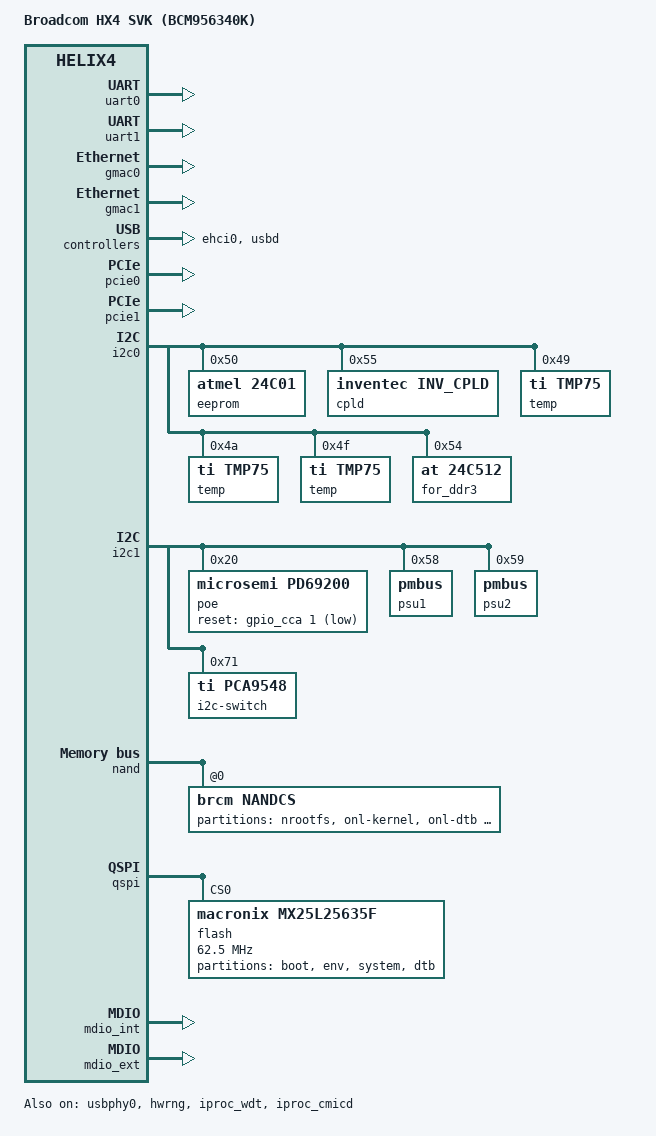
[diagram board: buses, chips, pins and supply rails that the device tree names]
/*
 *  BSD LICENSE
 *
 *  Copyright(c) 2016 Broadcom Corporation.  All rights reserved.
 *
 *  Redistribution and use in source and binary forms, with or without
 *  modification, are permitted provided that the following conditions
 *  are met:
 *
 *    * Redistributions of source code must retain the above copyright
 *      notice, this list of conditions and the following disclaimer.
 *    * Redistributions in binary form must reproduce the above copyright
 *      notice, this list of conditions and the following disclaimer in
 *      the documentation and/or other materials provided with the
 *      distribution.
 *    * Neither the name of Broadcom Corporation nor the names of its
 *      contributors may be used to endorse or promote products derived
 *      from this software without specific prior written permission.
 *
 *  THIS SOFTWARE IS PROVIDED BY THE COPYRIGHT HOLDERS AND CONTRIBUTORS
 *  "AS IS" AND ANY EXPRESS OR IMPLIED WARRANTIES, INCLUDING, BUT NOT
 *  LIMITED TO, THE IMPLIED WARRANTIES OF MERCHANTABILITY AND FITNESS FOR
 *  A PARTICULAR PURPOSE ARE DISCLAIMED. IN NO EVENT SHALL THE COPYRIGHT
 *  OWNER OR CONTRIBUTORS BE LIABLE FOR ANY DIRECT, INDIRECT, INCIDENTAL,
 *  SPECIAL, EXEMPLARY, OR CONSEQUENTIAL DAMAGES (INCLUDING, BUT NOT
 *  LIMITED TO, PROCUREMENT OF SUBSTITUTE GOODS OR SERVICES; LOSS OF USE,
 *  DATA, OR PROFITS; OR BUSINESS INTERRUPTION) HOWEVER CAUSED AND ON ANY
 *  THEORY OF LIABILITY, WHETHER IN CONTRACT, STRICT LIABILITY, OR TORT
 *  (INCLUDING NEGLIGENCE OR OTHERWISE) ARISING IN ANY WAY OUT OF THE USE
 *  OF THIS SOFTWARE, EVEN IF ADVISED OF THE POSSIBILITY OF SUCH DAMAGE.
 */

/dts-v1/;

#include "dts/bcm-helix4.dtsi"

/ {
	model = "Broadcom HX4 SVK (BCM956340K)";
	compatible = "brcm,bcm956340k", "brcm,helix4";

	aliases {
		serial0 = &uart0;
		serial1 = &uart1;
		ethernet0 = &gmac0;
		ethernet1 = &gmac1;
		i2c-controller0 = &i2c0;
		i2c-controller1 = &i2c1;
	};
	
	chosen {
		bootargs = "console=ttyS0,115200n8 maxcpus=2 mem=496M";
	};
};
	
&uart0 {
	status = "okay";
};

&uart1 {
	status = "okay";
};

&gmac0 {
	status = "okay";	
};

&gmac1 {
	status = "okay";	
};
	
&usbphy0 {
	dr_mode = "host";
	/delete-property/ vbus-gpio;
	/delete-property/ usbdev-gpio;
	status = "okay";		
};

&ehci0 {
	status = "okay";		
};

&usbd {
	status = "okay";		
};

&gpio_cca {
	status = "okay";		
};

&pcie0 {
	status = "okay";		
};

&pcie1 {
	status = "okay";		
};

&i2c0 {
	status = "okay";	
	eeprom@0x50 {
		compatible = "atmel,24c01";
		reg = <0x50>;
		pagesize = <8>;
	};
	cpld@1,0 {
		#address-cells = <1>;
		#size-cells = <1>;
		compatible = "inventec,inv_cpld";
		label = "cpld";
		reg = <0x55>;
	};

	temp@49 {
		compatible = "ti,tmp75";
		reg = <0x49>;
	};

	temp@4a {
		compatible = "ti,tmp75";
		reg = <0x4A>;
	};

	temp@4f {
		compatible = "ti,tmp75";
		reg = <0x4f>;
	};

	for_ddr3@54 {
		compatible = "at,24c512";
		reg = <0x54>;
		label = "for_ddr3";
	};
};

&i2c1 {
	status = "okay";
	
	poe@20 {
		compatible = "microsemi,pd69200";
		reset-gpio = <&gpio_cca 1 GPIO_ACTIVE_LOW>;
		reg = <0x20>;
		label = "poe";
	};
	
	psu1@58 {
		compatible = "pmbus";
		reg = <0x58>;
		label = "psu1";
	};
	
	psu2@59 {
		compatible = "pmbus";
		reg = <0x59>;
		label = "psu2";
	};
	
	i2c-switch@71 {
		compatible = "ti,pca9548";
		reg = <0x71>;
		#address-cells = <1>;
		#size-cells = <0>;
		deselect-on-exit;

		// SFP 1
		i2c@0 {
			#address-cells = <1>;
			#size-cells = <0>;
			reg = <0>;
		};

		// SFP 2
		i2c@1 {
			#address-cells = <1>;
			#size-cells = <0>;
			reg = <1>;
		};

		// SFP 3
		i2c@2 {
			#address-cells = <1>;
			#size-cells = <0>;
			reg = <2>;
		};

		// SFP 4
		i2c@3 {
			#address-cells = <1>;
			#size-cells = <0>;
			reg = <3>;
		};
	};
};
	
&nand {	
	status = "okay";
	nandcs@1 {
		compatible = "brcm,nandcs";
		reg = <0>;
		nand-on-flash-bbt;
		/*nand-bus-width = <8>;*/
		nand-ecc-strength = <24>;
		nand-ecc-step-size = <1024>;
		brcm,nand-oob-sector-size = <27>;
		#address-cells = <1>;
		#size-cells = <1>;
		
		partition@0 {
			label = "nrootfs";
			reg = <0x0 0x50000000>;
		};
		partition@1 {
			label = "onl-kernel";
			reg = <0x50000000 0x04000000>;
		};
		partition@2 {
			label = "onl-dtb";
			reg = <0x54000000 0x04000000>;
		};
		partition@3 {
			label = "onl";
			reg = <0x58000000 0xA8000000>;
		};

	};
};

&qspi {
	status = "okay";
	flash: m25p80@0 {
		compatible = "macronix,mx25l25635f", "jedec,spi-nor";
		cmdlist = <0x01FCF003 0x006F803F 0x003F0011 0x802104E7>;			dt_flash_info =  <0xC22019 0x0000 0x10000 0x200 0x100>;
		read_dummy = [00 08 00 08 02 08 03 0A 03 0A];
		asp_pwd = [00];
		spi-rx-bus-width = <1>;
		spi-tx-bus-width = <1>;
		#address-cells = <1>;
		#size-cells = <1>;
		m25p,fast-read = <1>;
		spi-max-frequency = <62500000>;
		reg = <0x0>;
		partition@0 {
			label = "boot";
			reg = <0x00000000 0x000c0000>;
			/*read-only;*/
		};
		partition@1 {
			label = "env";
			reg = <0x000c0000 0x00040000>;
		};
		partition@2 {
			label = "system";
			reg = <0x00100000 0x00f00000>;
		};
		partition@3 {
			label = "dtb";
			reg = <0x01000000 0x00f00000>;
		};
	};
};


&mdio_int {
	status = "okay";
};		

&mdio_ext {
	status = "okay";
};
	
&hwrng {
	status = "okay";
};

&iproc_wdt {
	status = "okay";
};

&dmac0 {
	status = "okay";
};	

&iproc_cmicd {
	status = "okay";
};

